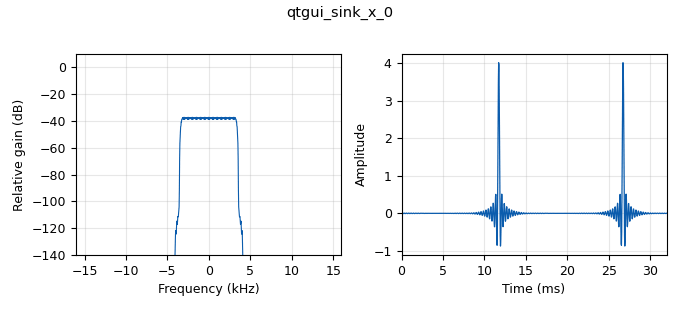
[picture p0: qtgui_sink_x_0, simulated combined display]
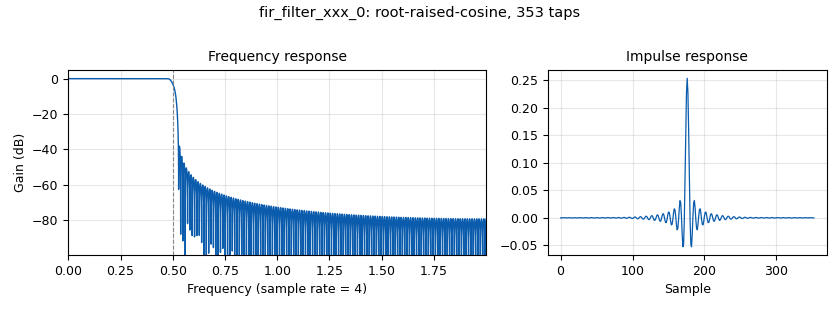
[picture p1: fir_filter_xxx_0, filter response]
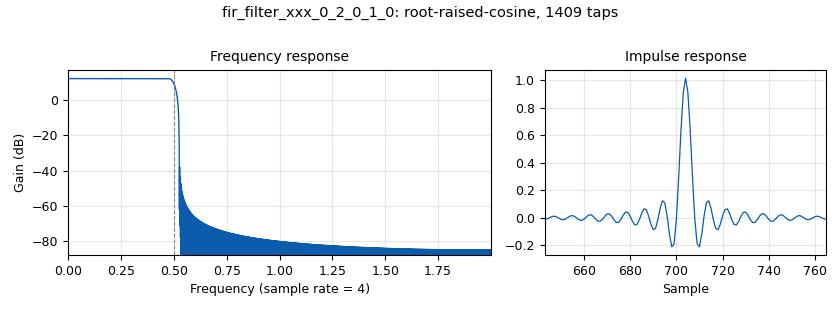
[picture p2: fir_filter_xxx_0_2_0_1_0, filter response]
options:
  parameters:
    category: Custom
    generate_options: qt_gui
    id: symbol_differential_filter_phases
    output_language: python
  states: {}

blocks:
- name: eb
  id: variable
  parameters:
    value: '50e-3'
  states: {}
- name: ntaps
  id: variable
  parameters:
    value: 11*32
  states: {}
- name: rate
  id: variable
  parameters:
    value: '1.2'
  states: {}
- name: rrc_rx
  id: variable
  parameters:
    value: firdes.root_raised_cosine(1.0, sps, 1, eb, ntaps)
  states: {}
- name: rrc_tx
  id: variable
  parameters:
    value: firdes.root_raised_cosine(sps, sps, 1, eb, sps*ntaps)
  states: {}
- name: samp_rate
  id: variable
  parameters:
    value: '32000'
  states: {}
- name: sps
  id: variable
  parameters:
    value: '4'
  states: {}
- name: blocks_delay_0_0_0
  id: blocks_delay
  parameters:
    delay: '100'
    type: float
  states: {}
- name: blocks_throttle_0
  id: blocks_throttle
  parameters:
    samples_per_second: samp_rate
    type: float
  states: {}
- name: blocks_vector_source_x_0
  id: blocks_vector_source_x
  parameters:
    repeat: 'True'
    type: float
    vector: 49*[0,] + [1,] + 50*[0,]
  states: {}
- name: fir_filter_xxx_0
  id: fir_filter_xxx
  parameters:
    decim: '1'
    taps: rrc_rx
    type: fff
  states: {}
- name: fir_filter_xxx_0_2_0_1_0
  id: fir_filter_xxx
  parameters:
    decim: '1'
    taps: rrc_tx
    type: fff
  states: {}
- name: import_math
  id: import
  parameters:
    imports: import math
  states: {}
- name: interp_fir_filter_xxx_0
  id: interp_fir_filter_xxx
  parameters:
    interp: sps
    taps: rrc_tx
    type: fff
  states: {}
- name: mmse_resampler_xx_0
  id: mmse_resampler_xx
  parameters:
    phase_shift: '0'
    resamp_ratio: '1'
    type: float
  states: {}
- name: pfb_arb_resampler_xxx_0_0_1
  id: pfb_arb_resampler_xxx
  parameters:
    atten: '100'
    nfilts: '32'
    rrate: rate
    type: fff
  states: {}
- name: qtgui_sink_x_0
  id: qtgui_sink_x
  parameters:
    bw: samp_rate
    fc: '0'
    fftsize: '1024'
    type: float
  states: {}

connections:
- [blocks_delay_0_0_0, '0', qtgui_sink_x_0, '0']
- [blocks_throttle_0, '0', interp_fir_filter_xxx_0, '0']
- [blocks_vector_source_x_0, '0', blocks_throttle_0, '0']
- [fir_filter_xxx_0, '0', mmse_resampler_xx_0, '0']
- [fir_filter_xxx_0_2_0_1_0, '0', blocks_delay_0_0_0, '0']
- [interp_fir_filter_xxx_0, '0', pfb_arb_resampler_xxx_0_0_1, '0']
- [mmse_resampler_xx_0, '0', fir_filter_xxx_0_2_0_1_0, '0']
- [pfb_arb_resampler_xxx_0_0_1, '0', fir_filter_xxx_0, '0']

metadata:
  file_format: 1
  grc_version: 3.10.5.1
